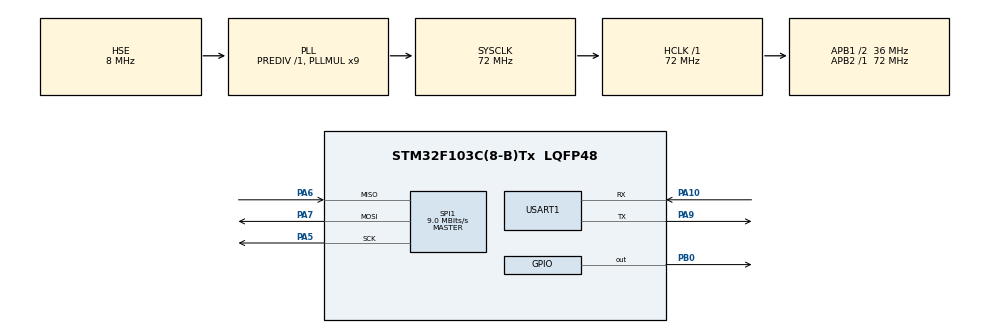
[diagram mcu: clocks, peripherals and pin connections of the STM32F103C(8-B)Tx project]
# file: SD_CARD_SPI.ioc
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FATFS._MAX_SS=4096
FATFS._USE_LFN=1
Mcu.Family=STM32F1
Mcu.Name=STM32F103C(8-B)Tx
Mcu.Package=LQFP48
NVIC.PriorityGroup=NVIC_PRIORITYGROUP_4
PA10.Mode=Asynchronous
PA10.Signal=USART1_RX
PA13.Mode=Serial_Wire
PA13.Signal=SYS_JTMS-SWDIO
PA14.Mode=Serial_Wire
PA14.Signal=SYS_JTCK-SWCLK
PA5.Mode=Full_Duplex_Master
PA5.Signal=SPI1_SCK
PA6.Mode=Full_Duplex_Master
PA6.Signal=SPI1_MISO
PA7.Mode=Full_Duplex_Master
PA7.Signal=SPI1_MOSI
PA9.Mode=Asynchronous
PA9.Signal=USART1_TX
PB0.Signal=GPIO_Output
PD0-OSC_IN.Mode=HSE-External-Oscillator
PD0-OSC_IN.Signal=RCC_OSC_IN
PD1-OSC_OUT.Mode=HSE-External-Oscillator
PD1-OSC_OUT.Signal=RCC_OSC_OUT
ProjectManager.HeapSize=0x200
ProjectManager.StackSize=0x400
ProjectManager.TargetToolchain=STM32CubeIDE
RCC.AHBFreq_Value=72000000
RCC.APB1CLKDivider=RCC_HCLK_DIV2
RCC.APB1Freq_Value=36000000
RCC.APB1TimFreq_Value=72000000
RCC.APB2Freq_Value=72000000
RCC.APB2TimFreq_Value=72000000
RCC.HCLKFreq_Value=72000000
RCC.PLLMUL=RCC_PLL_MUL9
RCC.PLLSourceVirtual=RCC_PLLSOURCE_HSE
RCC.SYSCLKFreq_VALUE=72000000
RCC.SYSCLKSource=RCC_SYSCLKSOURCE_PLLCLK
RCC.USBFreq_Value=72000000
SPI1.BaudRatePrescaler=SPI_BAUDRATEPRESCALER_8
SPI1.CalculateBaudRate=9.0 MBits/s
SPI1.Direction=SPI_DIRECTION_2LINES
SPI1.Mode=SPI_MODE_MASTER
SPI1.VirtualType=VM_MASTER
USART1.VirtualMode=VM_ASYNC
VP_FATFS_VS_Generic.Mode=User_defined
board=custom

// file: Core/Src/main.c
/* USER CODE BEGIN Header */
/**
  ******************************************************************************
  * @file           : main.c
  * @brief          : Main program body
  ******************************************************************************
  * @attention
  *
  * Copyright (c) 2023 STMicroelectronics.
  * All rights reserved.
  *
  * This software is licensed under terms that can be found in the LICENSE file
  * in the root directory of this software component.
  * If no LICENSE file comes with this software, it is provided AS-IS.
  *
  ******************************************************************************
  */
/* USER CODE END Header */
#include "main.h"
#include "fatfs.h"

/* USER CODE BEGIN Includes */
#include "fatfs_sd.h"
#include <string.h>
#include <stdio.h>
/* USER CODE END Includes */

SPI_HandleTypeDef hspi1;

UART_HandleTypeDef huart1;

void SystemClock_Config(void);
static void MX_GPIO_Init(void);
static void MX_SPI1_Init(void);
static void MX_USART1_UART_Init(void);

/* USER CODE BEGIN 0 */

FATFS fs; // file system
FIL fil; // file
FRESULT fresult; // to store result
char buffer[1024]; // to store data

UINT br, bw; // file read/write count

/* capacity related variables */
FATFS *pfs;
DWORD free_clust;
uint32_t total, free_space;

/* to send data to the uart */
void send_uart (char *string)
{
	uint8_t len = strlen(string);
	HAL_UART_Transmit(&huart1, (uint8_t *)string, len, 2000);
}

int bufsize(char *buf)
{
	int i = 0;
	while(*buf++) i++;
	return i;
}

void buf_clear(void) //clear the buffer
{
	for(int i = 0; i < 1024; i++)
		buffer[i] = 0;
}
/* USER CODE END 0 */

int main(void)
{

  /* MCU Configuration--------------------------------------------------------*/

  /* Reset of all peripherals, Initializes the Flash interface and the Systick. */
  HAL_Init();

  /* Configure the system clock */
  SystemClock_Config();

  /* Initialize all configured peripherals */
  MX_GPIO_Init();
  MX_SPI1_Init();
  MX_USART1_UART_Init();
  MX_FATFS_Init();
  /* USER CODE BEGIN 2 */

  fresult = f_mount(&fs, "", 0);
  if(fresult != FR_OK) send_uart("Error mounting SD CARD...\n");
  else send_uart("SD_ CARD mounted successfully...\n");

  /* Check free space */
  	f_getfree("", &free_clust, &pfs);

  	total = (uint32_t)((pfs->n_fatent - 2) * pfs->csize * 0.5);
  	sprintf(buffer, "SD CARD Total size: \t%lu\n", total);
  	send_uart(buffer);
  	buf_clear();

  	free_space = (uint32_t)(free_clust * pfs->csize * 0.5);
  	sprintf(buffer, "SD CARD Free Space: \t%lu\n", free_space);
	send_uart(buffer);
	buf_clear();

	/* Open file to write/ create a file if it doesn't exist */
	fresult = f_open(&fil, "file1.txt", FA_OPEN_ALWAYS | FA_READ | FA_WRITE);

	if(fresult != FR_OK)
		send_uart("ERR W\n");
	else
	{

	/* Writing text */
	f_puts("This data is from the FILE1.txt. And it was written using ...f_puts... ", &fil);

	/* Close file */
	fresult = f_close(&fil);

	send_uart("File1.txt created and the data is written.\n");
	}

	/* Open the file to read */

	fresult = f_open(&fil, "file1.txt", FA_READ);

	if(fresult != FR_OK)
		send_uart("ERR R\n");
	else
	{

	f_gets(buffer, fil.fsize, &fil);

	send_uart(buffer);

	f_close(&fil);
	}

	buf_clear();

  /* USER CODE END 2 */

  /* Infinite loop */
  while (1)
  {

  }
}

void SystemClock_Config(void)
{
  RCC_OscInitTypeDef RCC_OscInitStruct = {0};
  RCC_ClkInitTypeDef RCC_ClkInitStruct = {0};

  /** Initializes the RCC Oscillators according to the specified parameters
  * in the RCC_OscInitTypeDef structure.
  */
  RCC_OscInitStruct.OscillatorType = RCC_OSCILLATORTYPE_HSE;
  RCC_OscInitStruct.HSEState = RCC_HSE_ON;
  RCC_OscInitStruct.HSEPredivValue = RCC_HSE_PREDIV_DIV1;
  RCC_OscInitStruct.HSIState = RCC_HSI_ON;
  RCC_OscInitStruct.PLL.PLLState = RCC_PLL_ON;
  RCC_OscInitStruct.PLL.PLLSource = RCC_PLLSOURCE_HSE;
  RCC_OscInitStruct.PLL.PLLMUL = RCC_PLL_MUL9;
  if (HAL_RCC_OscConfig(&RCC_OscInitStruct) != HAL_OK)
  {
    Error_Handler();
  }

  /** Initializes the CPU, AHB and APB buses clocks
  */
  RCC_ClkInitStruct.ClockType = RCC_CLOCKTYPE_HCLK|RCC_CLOCKTYPE_SYSCLK
                              |RCC_CLOCKTYPE_PCLK1|RCC_CLOCKTYPE_PCLK2;
  RCC_ClkInitStruct.SYSCLKSource = RCC_SYSCLKSOURCE_PLLCLK;
  RCC_ClkInitStruct.AHBCLKDivider = RCC_SYSCLK_DIV1;
  RCC_ClkInitStruct.APB1CLKDivider = RCC_HCLK_DIV2;
  RCC_ClkInitStruct.APB2CLKDivider = RCC_HCLK_DIV1;

  if (HAL_RCC_ClockConfig(&RCC_ClkInitStruct, FLASH_LATENCY_2) != HAL_OK)
  {
    Error_Handler();
  }
}

static void MX_SPI1_Init(void)
{

  /* SPI1 parameter configuration*/
  hspi1.Instance = SPI1;
  hspi1.Init.Mode = SPI_MODE_MASTER;
  hspi1.Init.Direction = SPI_DIRECTION_2LINES;
  hspi1.Init.DataSize = SPI_DATASIZE_8BIT;
  hspi1.Init.CLKPolarity = SPI_POLARITY_LOW;
  hspi1.Init.CLKPhase = SPI_PHASE_1EDGE;
  hspi1.Init.NSS = SPI_NSS_SOFT;
  hspi1.Init.BaudRatePrescaler = SPI_BAUDRATEPRESCALER_8;
  hspi1.Init.FirstBit = SPI_FIRSTBIT_MSB;
  hspi1.Init.TIMode = SPI_TIMODE_DISABLE;
  hspi1.Init.CRCCalculation = SPI_CRCCALCULATION_DISABLE;
  hspi1.Init.CRCPolynomial = 10;
  if (HAL_SPI_Init(&hspi1) != HAL_OK)
  {
    Error_Handler();
  }

}

static void MX_USART1_UART_Init(void)
{

  huart1.Instance = USART1;
  huart1.Init.BaudRate = 115200;
  huart1.Init.WordLength = UART_WORDLENGTH_8B;
  huart1.Init.StopBits = UART_STOPBITS_1;
  huart1.Init.Parity = UART_PARITY_NONE;
  huart1.Init.Mode = UART_MODE_TX_RX;
  huart1.Init.HwFlowCtl = UART_HWCONTROL_NONE;
  huart1.Init.OverSampling = UART_OVERSAMPLING_16;
  if (HAL_UART_Init(&huart1) != HAL_OK)
  {
    Error_Handler();
  }

}

static void MX_GPIO_Init(void)
{
  GPIO_InitTypeDef GPIO_InitStruct = {0};

  /* GPIO Ports Clock Enable */
  __HAL_RCC_GPIOD_CLK_ENABLE();
  __HAL_RCC_GPIOA_CLK_ENABLE();
  __HAL_RCC_GPIOB_CLK_ENABLE();

  /*Configure GPIO pin Output Level */
  HAL_GPIO_WritePin(GPIOB, GPIO_PIN_0, GPIO_PIN_RESET);

  /*Configure GPIO pin : PB0 */
  GPIO_InitStruct.Pin = GPIO_PIN_0;
  GPIO_InitStruct.Mode = GPIO_MODE_OUTPUT_PP;
  GPIO_InitStruct.Pull = GPIO_NOPULL;
  GPIO_InitStruct.Speed = GPIO_SPEED_FREQ_LOW;
  HAL_GPIO_Init(GPIOB, &GPIO_InitStruct);

}

void Error_Handler(void)
{
  __disable_irq();
  while (1)
  {
  }
}
